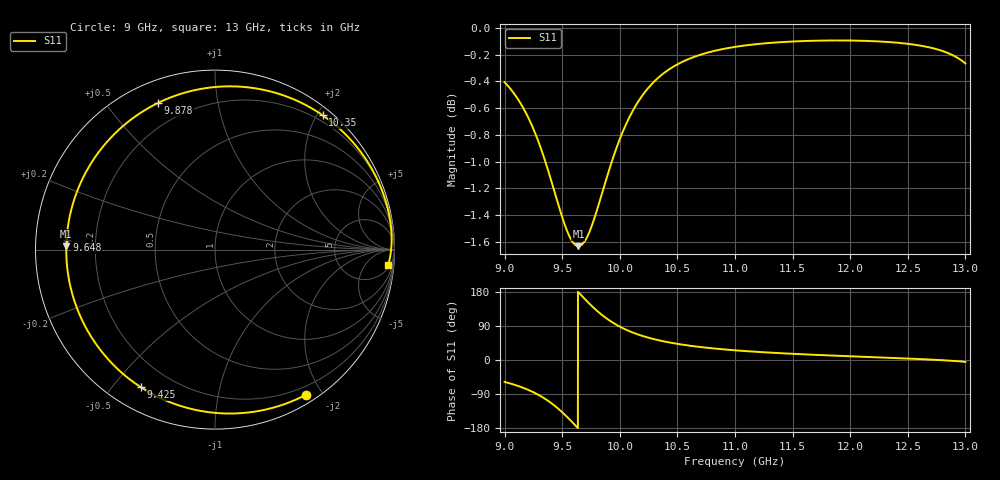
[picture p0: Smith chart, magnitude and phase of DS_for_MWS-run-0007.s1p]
! TOUCHSTONE file generated by CST DESIGN STUDIO
! Date and time: Tue Feb  4 18:22:16 2025
! Project name: C:\Work\MatlabApps\UnitCellOptimizationMatlab\CST\unitcell.cst
! Tree item: Tasks\Sweep1\SPara1\S-Parameters
! Header version: 2024
! Port assignment regex: !\s*Touchstone port\s*([0-9]+)\s*=\s*(CST MWS port|CST DES external port|CST DES block port)\s*(.+)\s* \(\"(.*)\"\)(\s*mode\s*([0-9]+))?.*
! Touchstone port assignment:
! Touchstone port 1 = CST DES external port 1 ("")
# GHz S MA R 50
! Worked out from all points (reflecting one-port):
!   4001 points, 9 GHz to 13 GHz, reference 50 ohm
!   lowest |S11| = -1.6 dB at 9.641 GHz (marker M1), VSWR 10.68, Z = 4.68 + j0.579 ohm
!   phase of S11 starts at -58 deg and turns -307 deg over the sweep
!   S11 on the Smith chart (normalised r, x): 9 GHz: 0.10, -1.80; 9.425 GHz: 0.09, -0.59; 9.648 GHz: 0.09, +0.03; 9.878 GHz: 0.10, +0.68; 10.35 GHz: 0.11, +2.08; 13 GHz: 7, -21
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9  0.9543 -57.9
9.059  0.9479 -62.9
9.134  0.9378 -70.3
9.264  0.9137 -87.2
9.35  0.8923 -102.2
9.425  0.8709 -118.4
9.5  0.8497 -137.8
9.575  0.8339 -160.2
9.641  0.8288 178.7
9.648  0.8289 176.4
9.706  0.8337 157.9
9.77  0.8466 138.7
9.823  0.8608 124.4
9.878  0.8766 111.2
9.936  0.8928 99.2
10  0.9088 88.0
10.079  0.9252 76.6
10.162  0.9389 67.0
10.251  0.95 58.6
10.349  0.9592 51.3
10.5  0.9691 42.6
10.72  0.9778 33.5
11  0.9837 25.6
11.5  0.9883 16.3
12  0.9891 9.8
12.5  0.9864 3.9
12.783  0.9809 -0.2
13  0.9699 -4.9
